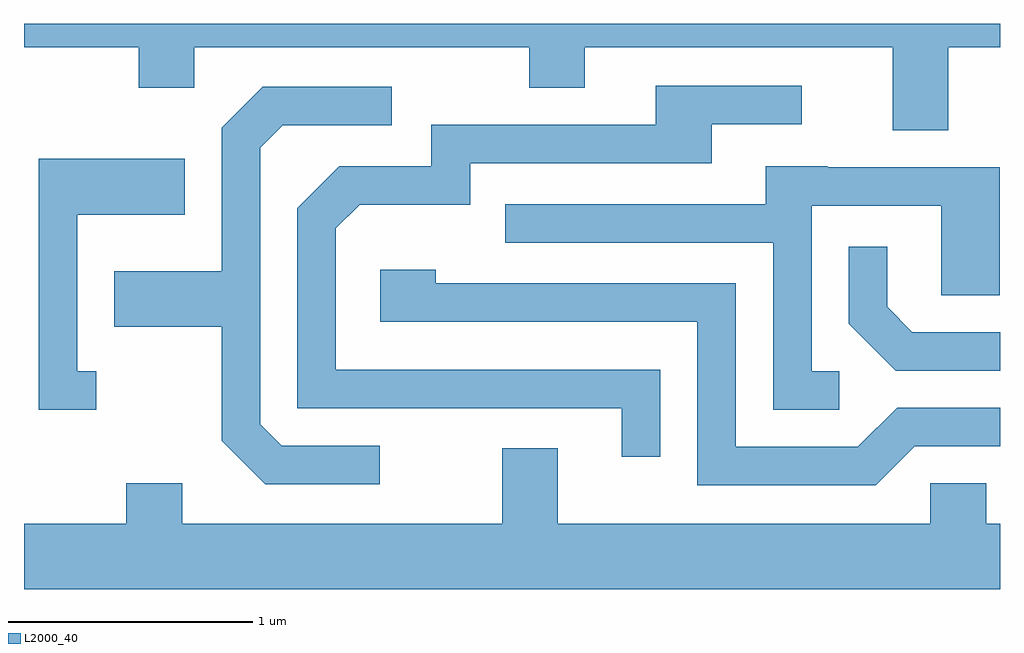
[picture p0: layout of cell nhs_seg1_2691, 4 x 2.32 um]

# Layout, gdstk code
import gdstk
lib = gdstk.Library(unit=1e-6, precision=1e-09)
def P(c, l, *ps):  # polygons
    for p in ps: c.add(gdstk.Polygon(p, *l))
L2000_40 = (2000, 40)

nhs_seg1_2691 = lib.new_cell('nhs_seg1_2691')
P(nhs_seg1_2691, L2000_40, [(271.399,859.616),(271.611,859.616),(271.611,859.712),(267.611,859.712),(267.611,859.616),(268.081,859.616),(268.081,859.451),(268.309,859.451),(268.309,859.616),(269.681,859.616),(269.681,859.451),(269.909,859.451),(269.909,859.616),(271.171,859.616),(271.171,859.276),(271.399,859.276)],
  [(270.219,858.294),(268.889,858.294),(268.889,858.874),(268.987,858.971),(269.439,858.971),(269.439,859.141),(270.429,859.141),(270.429,859.301),(270.798,859.301),(270.798,859.459),(270.201,859.459),(270.201,859.299),(269.281,859.299),(269.281,859.129),(268.904,859.129),(268.731,858.957),(268.731,858.136),(270.061,858.136),(270.061,857.938),(270.219,857.938)],
  [(269.068,857.984),(268.667,857.984),(268.579,858.072),(268.579,859.204),(268.672,859.296),(269.118,859.296),(269.118,859.454),(268.589,859.454),(268.421,859.287),(268.421,858.699),(267.981,858.699),(267.981,858.471),(268.421,858.471),(268.421,858.004),(268.599,857.826),(269.068,857.826)],
  [(267.908,858.289),(267.829,858.289),(267.829,858.931),(268.269,858.931),(268.269,859.159),(267.671,859.159),(267.671,858.131),(267.908,858.131)],
  [(270.953,858.289),(270.839,858.289),(270.839,858.966),(271.371,858.966),(271.371,858.601),(271.609,858.601),(271.609,859.124),(270.905,859.124),(270.905,859.129),(270.651,859.129),(270.651,858.974),(269.583,858.974),(269.583,858.816),(270.681,858.816),(270.681,858.131),(270.953,858.131)],
  [(271.611,858.449),(271.252,858.449),(271.149,858.552),(271.149,858.798),(270.991,858.798),(270.991,858.484),(271.184,858.291),(271.611,858.291)],
  [(271.262,857.981),(271.611,857.981),(271.611,858.139),(271.189,858.139),(271.029,857.979),(270.529,857.979),(270.529,858.649),(269.299,858.649),(269.299,858.704),(269.071,858.704),(269.071,858.491),(270.371,858.491),(270.371,857.821),(271.102,857.821)],
  [(271.611,857.664),(271.554,857.664),(271.554,857.829),(271.326,857.829),(271.326,857.664),(269.799,857.664),(269.799,857.974),(269.571,857.974),(269.571,857.664),(268.259,857.664),(268.259,857.829),(268.031,857.829),(268.031,857.664),(267.611,857.664),(267.611,857.396),(271.611,857.396)])

lib.write_gds('nhs_seg1_2691.gds')
